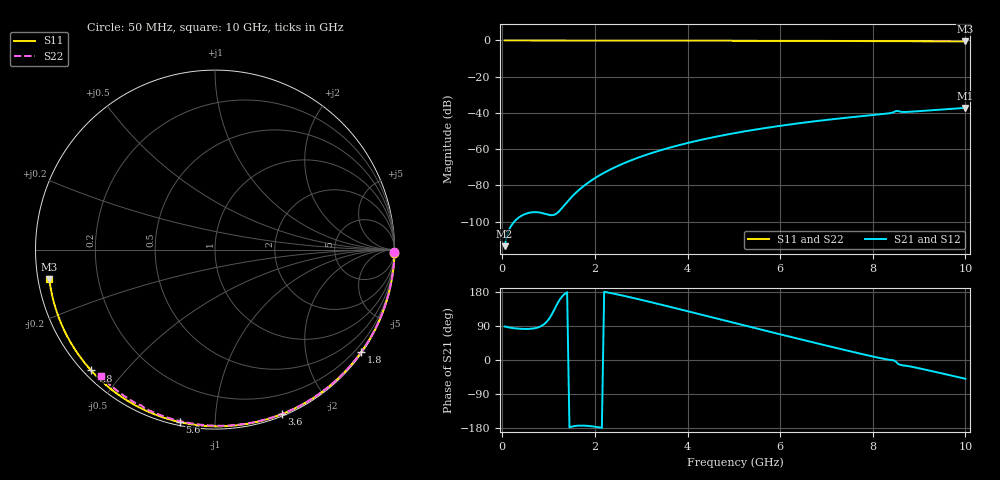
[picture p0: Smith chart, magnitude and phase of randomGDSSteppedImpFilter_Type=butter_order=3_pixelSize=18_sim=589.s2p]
! freq	dB(S11)	phase(S11)	dB(S12)	phase(S12)
!  dB(S21)	phase(S21)	dB(S22)	phase(S22)
!S-par simulation data
#  GHz  S  DB  R 50
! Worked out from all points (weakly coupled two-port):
!   200 points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, 50 MHz to 10 GHz, reference 50 ohm
!   highest |S21| = -37.25 dB at 10 GHz (marker M1); lowest = -113.6 dB at 50 MHz (marker M2)
!   lowest |S11| = -0.6 dB at 10 GHz (marker M3), VSWR 31.13, Z = 1.62 - j4.46 ohm
!   |S11| at or under -10 dB: nowhere
!   |S22| runs from -0.4 to 0.0 dB; largest |S21 - S12| = 0
!   S11 on the Smith chart (normalised r, x): 50 MHz: open; 1.8 GHz: 0.03, -3.17; 3.6 GHz: 0.02, -1.48; 5.6 GHz: 0.02, -0.82; 7.8 GHz: 0.02, -0.41; 10 GHz: 0.03, -0.09
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0.05  -0.00 -1.0  -113.58 88.4  -113.58 88.4  -0.00 -0.8
0.85  -0.02 -16.8  -95.20 90.1  -95.20 90.1  -0.02 -12.9
1.3  -0.03 -25.5  -92.19 168.8  -92.19 168.8  -0.02 -19.7
1.75  -0.04 -34.1  -80.53 -173.1  -80.53 -173.1  -0.03 -26.4
1.8  -0.04 -35.1  -79.55 -173.4  -79.55 -173.4  -0.03 -27.1
2.1  -0.05 -40.7  -74.47 -177.9  -74.47 -177.9  -0.04 -31.5
2.5  -0.06 -48.2  -69.21 172.7  -69.21 172.7  -0.05 -37.4
2.9  -0.07 -55.5  -65.02 161.6  -65.02 161.6  -0.06 -43.1
3.4  -0.09 -64.5  -60.76 147.0  -60.76 147.0  -0.07 -50.2
3.6  -0.09 -68.0  -59.28 140.9  -59.28 140.9  -0.07 -53.0
4.3  -0.11 -80.1  -54.84 119.6  -54.84 119.6  -0.09 -62.6
5.05  -0.14 -92.6  -51.01 96.7  -51.01 96.7  -0.11 -72.6
5.6  -0.17 -101.5  -48.65 79.9  -48.65 79.9  -0.13 -79.8
6.15  -0.20 -110.3  -46.59 63.3  -46.59 63.3  -0.15 -86.7
6.7  -0.23 -118.9  -44.77 46.8  -44.77 46.8  -0.18 -93.6
7.8  -0.32 -135.7  -41.70 14.8  -41.70 14.8  -0.25 -106.8
8.35  -0.37 -144.1  -40.24 0.8  -40.24 0.8  -0.29 -113.3
8.45  -0.38 -145.6  -39.58 -0.9  -39.58 -0.9  -0.31 -114.6
8.5  -0.38 -146.4  -38.97 -4.4  -38.97 -4.4  -0.35 -115.1
8.7  -0.40 -149.5  -39.49 -14.8  -39.49 -14.8  -0.33 -117.1
9.35  -0.48 -159.5  -38.37 -31.4  -38.37 -31.4  -0.38 -124.6
10  -0.56 -169.8  -37.25 -49.6  -37.25 -49.6  -0.45 -132.0
